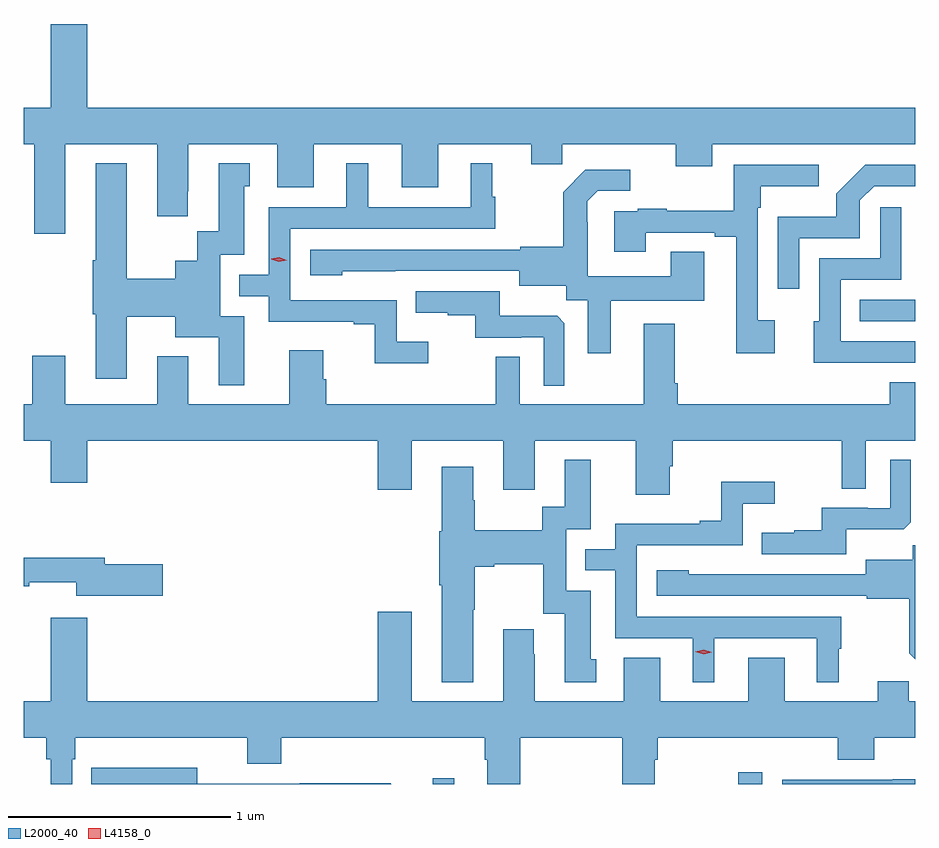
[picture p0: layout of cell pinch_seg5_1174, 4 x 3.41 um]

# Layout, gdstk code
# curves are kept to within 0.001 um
import gdstk
lib = gdstk.Library(unit=1e-6, precision=1e-09)
def R(c, l, rs):  # rectangles x0, y0, x1, y1
    for r in rs: c.add(gdstk.rectangle(r[:2], r[2:], *l))
def P(c, l, *ps):  # polygons
    for p in ps: c.add(gdstk.Polygon(p, *l))
L2000_40 = (2000, 40)
L4158_0 = (4158, 0)

pinch_seg5_1174 = lib.new_cell('pinch_seg5_1174')
R(pinch_seg5_1174, L2000_40, [(550.338,905.837,550.435,905.863), (551.709,905.837,551.817,905.89), (552.253,907.914,552.503,908.01)])
P(pinch_seg5_1174, L2000_40, [(548.689,908.708),(549.101,908.708),(549.101,908.385),(549.238,908.385),(549.238,908.497),(549.241,908.497),(549.241,908.708),(549.641,908.708),(549.641,908.514),(549.805,908.514),(549.805,908.708),(550.199,908.708),(550.199,908.514),(550.363,908.514),(550.363,908.708),(550.781,908.708),(550.781,908.618),(550.919,908.618),(550.919,908.708),(551.429,908.708),(551.429,908.609),(551.593,908.609),(551.593,908.708),(552.503,908.708),(552.503,908.872),(548.788,908.872),(548.788,909.247),(548.624,909.247),(548.624,908.872),(548.503,908.872),(548.503,908.708),(548.549,908.708),(548.549,908.307),(548.689,908.307)],
  [(549.493,907.935),(549.384,907.935),(549.384,908.211),(549.493,908.211),(549.493,908.52),(549.517,908.52),(549.517,908.623),(549.377,908.623),(549.377,908.316),(549.281,908.316),(549.281,908.185),(549.182,908.185),(549.182,908.105),(548.965,908.105),(548.965,908.623),(548.825,908.623),(548.825,908.188),(548.813,908.188),(548.813,907.944),(548.825,907.944),(548.825,907.656),(548.965,907.656),(548.965,907.933),(549.182,907.933),(549.182,907.841),(549.377,907.841),(549.377,907.626),(549.493,907.626)],
  [(550.318,907.822),(550.176,907.822),(550.176,908.007),(549.699,908.007),(549.699,908.328),(550.618,908.328),(550.618,908.472),(550.606,908.472),(550.606,908.623),(550.508,908.623),(550.508,908.424),(550.048,908.424),(550.048,908.623),(549.95,908.623),(549.95,908.424),(549.603,908.424),(549.603,908.121),(549.47,908.121),(549.47,908.025),(549.603,908.025),(549.603,907.911),(549.983,907.911),(549.983,907.899),(550.078,907.899),(550.078,907.724),(550.318,907.724)],
  [(551.982,908.286),(552.255,908.286),(552.255,908.457),(552.318,908.52),(552.503,908.52),(552.503,908.616),(552.278,908.616),(552.148,908.486),(552.148,908.383),(551.886,908.383),(551.886,908.058),(551.982,908.058)],
  [(551.872,907.918),(551.796,907.918),(551.796,908.423),(551.809,908.423),(551.809,908.519),(552.07,908.519),(552.07,908.616),(551.688,908.616),(551.688,908.408),(551.389,908.408),(551.389,908.419),(551.257,908.419),(551.257,908.406),(551.153,908.406),(551.153,908.226),(551.293,908.226),(551.293,908.31),(551.603,908.31),(551.603,908.292),(551.699,908.292),(551.699,907.77),(551.872,907.77)],
  [(551.137,908.006),(551.557,908.006),(551.557,908.225),(551.405,908.225),(551.405,908.116),(551.034,908.116),(551.034,908.357),(551.032,908.357),(551.032,908.452),(551.079,908.499),(551.224,908.499),(551.224,908.593),(551.023,908.593),(550.923,908.493),(550.923,908.248),(550.731,908.248),(550.731,908.235),(549.789,908.235),(549.789,908.12),(549.933,908.12),(549.933,908.138),(550.727,908.139),(550.727,908.072),(550.938,908.072),(550.938,908.008),(551.033,908.008),(551.033,907.77),(551.137,907.77)],
  [(552.265,907.728),(552.503,907.728),(552.503,907.824),(552.168,907.824),(552.168,908.1),(552.441,908.1),(552.441,908.425),(552.345,908.425),(552.345,908.196),(552.072,908.196),(552.072,907.914),(552.047,907.914),(552.047,907.727),(552.265,907.727)],
  [(550.929,907.905),(550.897,907.937),(550.639,907.937),(550.639,908.049),(550.261,908.049),(550.261,907.952),(550.405,907.952),(550.405,907.941),(550.529,907.941),(550.529,907.839),(550.736,907.839),(550.736,907.842),(550.836,907.842),(550.836,907.625),(550.929,907.625)],
  [(551.401,907.263),(551.414,907.263),(551.414,907.376),(552.174,907.376),(552.174,907.162),(552.282,907.162),(552.282,907.376),(552.503,907.376),(552.503,907.639),(552.389,907.639),(552.389,907.54),(551.438,907.54),(551.438,907.636),(551.425,907.636),(551.425,907.903),(551.285,907.903),(551.285,907.54),(550.728,907.54),(550.728,907.754),(550.62,907.754),(550.62,907.54),(549.86,907.54),(549.86,907.653),(549.847,907.653),(549.847,907.783),(549.695,907.783),(549.695,907.54),(549.241,907.54),(549.241,907.756),(549.101,907.756),(549.101,907.54),(548.689,907.54),(548.689,907.759),(548.542,907.759),(548.542,907.54),(548.503,907.54),(548.503,907.376),(548.624,907.376),(548.624,907.188),(548.788,907.188),(548.788,907.376),(550.091,907.376),(550.091,907.158),(550.243,907.158),(550.243,907.376),(550.655,907.376),(550.655,907.158),(550.795,907.158),(550.795,907.376),(551.249,907.376),(551.249,907.134),(551.401,907.134)],
  [(552.193,906.98),(552.451,906.98),(552.483,907.011),(552.483,907.291),(552.39,907.291),(552.39,907.074),(552.29,907.074),(552.29,907.077),(552.083,907.077),(552.083,906.976),(551.959,906.976),(551.959,906.964),(551.815,906.964),(551.815,906.867),(552.193,906.867)],
  [(550.519,906.619),(550.527,906.619),(550.527,906.812),(550.615,906.812),(550.615,906.824),(550.835,906.824),(550.835,906.6),(550.931,906.6),(550.931,906.294),(551.071,906.294),(551.071,906.396),(551.047,906.396),(551.047,906.705),(550.938,906.705),(550.938,906.981),(551.047,906.981),(551.047,907.291),(550.931,907.291),(550.931,907.082),(550.83,907.082),(550.83,906.976),(550.527,906.976),(550.527,907.11),(550.519,907.11),(550.519,907.261),(550.379,907.261),(550.379,906.972),(550.367,906.972),(550.367,906.728),(550.379,906.728),(550.379,906.293),(550.519,906.293)],
  [(551.602,906.492),(552.062,906.492),(552.062,906.293),(552.16,906.293),(552.16,906.444),(552.172,906.444),(552.172,906.588),(551.253,906.588),(551.253,906.909),(551.73,906.909),(551.73,907.094),(551.872,907.094),(551.872,907.193),(551.632,907.193),(551.632,907.018),(551.537,907.018),(551.537,907.005),(551.157,907.005),(551.157,906.891),(551.023,906.891),(551.023,906.795),(551.157,906.795),(551.157,906.492),(551.504,906.492),(551.504,906.293),(551.602,906.293)],
  [(552.503,906.908),(552.492,906.908),(552.492,906.844),(552.281,906.844),(552.281,906.777),(551.487,906.778),(551.487,906.796),(551.343,906.796),(551.343,906.681),(552.285,906.681),(552.285,906.669),(552.477,906.669),(552.477,906.423),(552.503,906.397)],
  [(549.127,906.824),(548.866,906.824),(548.866,906.853),(548.503,906.853),(548.503,906.724),(548.528,906.724),(548.528,906.743),(548.738,906.743),(548.738,906.682),(549.127,906.682)],
  [(552.155,905.945),(552.32,905.945),(552.32,906.044),(552.503,906.044),(552.503,906.208),(552.473,906.208),(552.473,906.299),(552.335,906.299),(552.335,906.208),(551.917,906.208),(551.917,906.403),(551.753,906.403),(551.753,906.208),(551.359,906.208),(551.359,906.403),(551.195,906.403),(551.195,906.208),(550.795,906.208),(550.795,906.419),(550.792,906.419),(550.792,906.532),(550.655,906.532),(550.655,906.208),(550.243,906.208),(550.243,906.61),(550.091,906.61),(550.091,906.208),(548.788,906.208),(548.788,906.583),(548.624,906.583),(548.624,906.208),(548.503,906.208),(548.503,906.044),(548.605,906.044),(548.605,905.948),(548.624,905.948),(548.624,905.837),(548.721,905.837),(548.721,905.948),(548.735,905.948),(548.735,906.044),(549.506,906.044),(549.506,905.927),(549.659,905.927),(549.659,906.044),(550.571,906.044),(550.571,905.946),(550.583,905.946),(550.583,905.837),(550.731,905.837),(550.731,906.044),(551.188,906.044),(551.188,905.837),(551.335,905.837),(551.335,905.946),(551.348,905.946),(551.348,906.044),(552.155,906.044)],
  [(550.15,905.84),(549.742,905.84),(549.742,905.838),(549.282,905.838),(549.282,905.911),(548.914,905.911),(548.914,905.91),(548.806,905.91),(548.806,905.837),(550.153,905.837)],
  [(552.503,905.858),(552.403,905.858),(552.403,905.856),(551.907,905.856),(551.907,905.837),(552.503,905.837)])
P(pinch_seg5_1174, L4158_0, [(549.648,908.18),(549.614,908.192),(549.614,908.193),(549.614,908.193),(549.65,908.2),(549.683,908.187),(549.683,908.187),(549.683,908.187)],
  [(551.553,906.419),(551.517,906.43),(551.517,906.43),(551.517,906.43),(551.553,906.439),(551.589,906.428),(551.589,906.428),(551.589,906.428)])

lib.write_gds('pinch_seg5_1174.gds')
